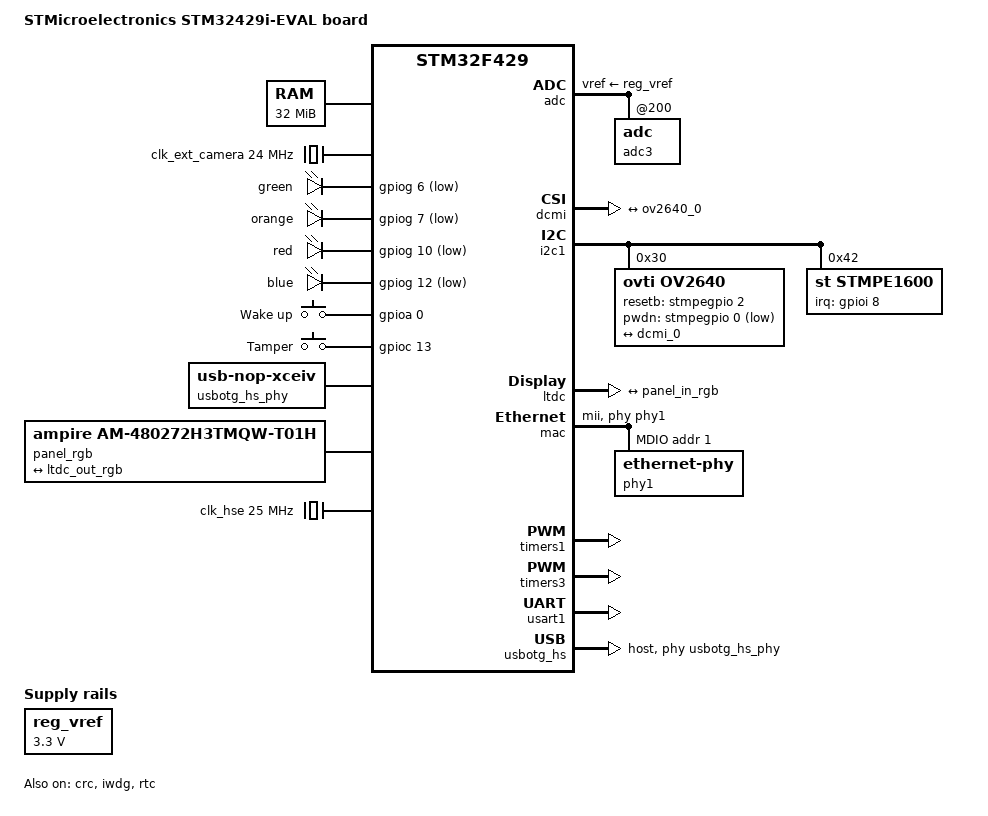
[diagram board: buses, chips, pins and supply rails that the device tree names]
/*
 * Copyright 2015 - Maxime Coquelin <mcoquelin.stm32@gmail.com>
 *
 * This file is dual-licensed: you can use it either under the terms
 * of the GPL or the X11 license, at your option. Note that this dual
 * licensing only applies to this file, and not this project as a
 * whole.
 *
 *  a) This file is free software; you can redistribute it and/or
 *     modify it under the terms of the GNU General Public License as
 *     published by the Free Software Foundation; either version 2 of the
 *     License, or (at your option) any later version.
 *
 *     This file is distributed in the hope that it will be useful,
 *     but WITHOUT ANY WARRANTY; without even the implied warranty of
 *     MERCHANTABILITY or FITNESS FOR A PARTICULAR PURPOSE.  See the
 *     GNU General Public License for more details.
 *
 *     You should have received a copy of the GNU General Public
 *     License along with this file; if not, write to the Free
 *     Software Foundation, Inc., 51 Franklin St, Fifth Floor, Boston,
 *     MA 02110-1301 USA
 *
 * Or, alternatively,
 *
 *  b) Permission is hereby granted, free of charge, to any person
 *     obtaining a copy of this software and associated documentation
 *     files (the "Software"), to deal in the Software without
 *     restriction, including without limitation the rights to use,
 *     copy, modify, merge, publish, distribute, sublicense, and/or
 *     sell copies of the Software, and to permit persons to whom the
 *     Software is furnished to do so, subject to the following
 *     conditions:
 *
 *     The above copyright notice and this permission notice shall be
 *     included in all copies or substantial portions of the Software.
 *
 *     THE SOFTWARE IS PROVIDED "AS IS", WITHOUT WARRANTY OF ANY KIND,
 *     EXPRESS OR IMPLIED, INCLUDING BUT NOT LIMITED TO THE WARRANTIES
 *     OF MERCHANTABILITY, FITNESS FOR A PARTICULAR PURPOSE AND
 *     NONINFRINGEMENT. IN NO EVENT SHALL THE AUTHORS OR COPYRIGHT
 *     HOLDERS BE LIABLE FOR ANY CLAIM, DAMAGES OR OTHER LIABILITY,
 *     WHETHER IN AN ACTION OF CONTRACT, TORT OR OTHERWISE, ARISING
 *     FROM, OUT OF OR IN CONNECTION WITH THE SOFTWARE OR THE USE OR
 *     OTHER DEALINGS IN THE SOFTWARE.
 */

/dts-v1/;
#include "stm32f429.dtsi"
#include <dt-bindings/input/input.h>
#include <dt-bindings/gpio/gpio.h>

/ {
	model = "STMicroelectronics STM32429i-EVAL board";
	compatible = "st,stm32429i-eval", "st,stm32f429";

	chosen {
		bootargs = "root=/dev/ram rdinit=/linuxrc";
		stdout-path = "serial0:115200n8";
	};

	memory {
		reg = <0x00000000 0x2000000>;
	};

	aliases {
		serial0 = &usart1;
	};

	clocks {
		clk_ext_camera: clk-ext-camera {
			#clock-cells = <0>;
			compatible = "fixed-clock";
			clock-frequency = <24000000>;
		};
	};

	soc {
		dma-ranges = <0xc0000000 0x0 0x10000000>;
	};

	regulators {
		compatible = "simple-bus";
		#address-cells = <1>;
		#size-cells = <0>;

		reg_vref: regulator@0 {
			compatible = "regulator-fixed";
			reg = <0>;
			regulator-name = "vref";
			regulator-min-microvolt = <3300000>;
			regulator-max-microvolt = <3300000>;
		};
	};

	leds {
		compatible = "gpio-leds";
		green {
			gpios = <&gpiog 6 1>;
			linux,default-trigger = "heartbeat";
		};
		orange {
			gpios = <&gpiog 7 1>;
		};
		red {
			gpios = <&gpiog 10 1>;
		};
		blue {
			gpios = <&gpiog 12 1>;
		};
	};

	gpio_keys {
		compatible = "gpio-keys";
		#address-cells = <1>;
		#size-cells = <0>;
		autorepeat;
		button@0 {
			label = "Wake up";
			linux,code = <KEY_WAKEUP>;
			gpios = <&gpioa 0 0>;
		};
		button@1 {
			label = "Tamper";
			linux,code = <KEY_RESTART>;
			gpios = <&gpioc 13 0>;
		};
	};

	usbotg_hs_phy: usbphy {
		#phy-cells = <0>;
		compatible = "usb-nop-xceiv";
		clocks = <&rcc 0 STM32F4_AHB1_CLOCK(OTGHSULPI)>;
		clock-names = "main_clk";
	};

	panel_rgb: panel-rgb {
		compatible = "ampire,am-480272h3tmqw-t01h";
		status = "okay";
		port {
			panel_in_rgb: endpoint {
				remote-endpoint = <&ltdc_out_rgb>;
			};
		};
	};
};

&adc {
	pinctrl-names = "default";
	pinctrl-0 = <&adc3_in8_pin>;
	vref-supply = <&reg_vref>;
	status = "okay";
	adc3: adc@200 {
		st,adc-channels = <8>;
		status = "okay";
	};
};

&clk_hse {
	clock-frequency = <25000000>;
};

&crc {
	status = "okay";
};

&dcmi {
	status = "okay";

	port {
		dcmi_0: endpoint {
			remote-endpoint = <&ov2640_0>;
			bus-width = <8>;
			hsync-active = <0>;
			vsync-active = <0>;
			pclk-sample = <1>;
		};
	};
};

&i2c1 {
	pinctrl-0 = <&i2c1_pins>;
	pinctrl-names = "default";
	status = "okay";

	ov2640: camera@30 {
		compatible = "ovti,ov2640";
		reg = <0x30>;
		resetb-gpios = <&stmpegpio 2 GPIO_ACTIVE_HIGH>;
		pwdn-gpios = <&stmpegpio 0 GPIO_ACTIVE_LOW>;
		clocks = <&clk_ext_camera>;
		clock-names = "xvclk";
		status = "okay";

		port {
			ov2640_0: endpoint {
				remote-endpoint = <&dcmi_0>;
			};
		};
	};

	stmpe1600: stmpe1600@42 {
		compatible = "st,stmpe1600";
		reg = <0x42>;
		irq-gpio = <&gpioi 8 0>;
		irq-trigger = <3>;
		interrupts = <8 3>;
		interrupt-parent = <&exti>;
		interrupt-controller;
		wakeup-source;

		stmpegpio: stmpe_gpio {
			compatible = "st,stmpe-gpio";
			gpio-controller;
			#gpio-cells = <2>;
		};
	};
};

&iwdg {
	status = "okay";
	timeout-sec = <32>;
};

&ltdc {
	status = "okay";
	pinctrl-0 = <&ltdc_pins>;
	pinctrl-names = "default";
	dma-ranges;

	port {
		ltdc_out_rgb: endpoint {
			remote-endpoint = <&panel_in_rgb>;
		};
	};
};

&mac {
	status = "okay";
	pinctrl-0	= <&ethernet_mii>;
	pinctrl-names	= "default";
	phy-mode	= "mii";
	phy-handle	= <&phy1>;
	mdio0 {
		#address-cells = <1>;
		#size-cells = <0>;
		compatible = "snps,dwmac-mdio";
		phy1: ethernet-phy@1 {
			reg = <1>;
		};
	};
};

&rtc {
	status = "okay";
};

&timers1 {
	status = "okay";

	pwm {
		pinctrl-0 = <&pwm1_pins>;
		pinctrl-names = "default";
		status = "okay";
	};

	timer@0 {
		status = "okay";
	};
};

&timers3 {
	status = "okay";

	pwm {
		pinctrl-0 = <&pwm3_pins>;
		pinctrl-names = "default";
		status = "okay";
	};

	timer@2 {
		status = "okay";
	};
};

&usart1 {
	pinctrl-0 = <&usart1_pins_a>;
	pinctrl-names = "default";
	status = "okay";
};

&usbotg_hs {
	dr_mode = "host";
	phys = <&usbotg_hs_phy>;
	phy-names = "usb2-phy";
	pinctrl-0 = <&usbotg_hs_pins_a>;
	pinctrl-names = "default";
	status = "okay";
};
